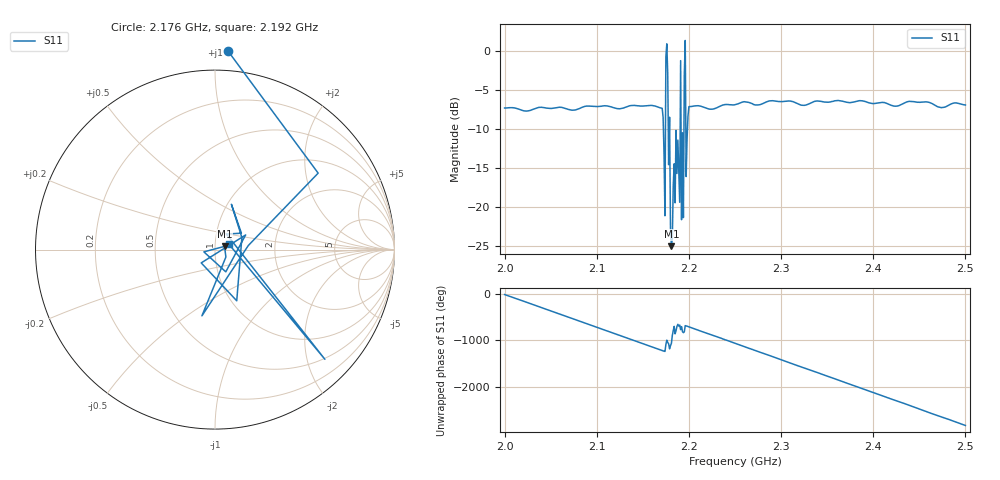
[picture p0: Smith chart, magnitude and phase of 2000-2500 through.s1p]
! NanoVNA-App by SYSJOINT et al v1.1.209 (+OD18)
! Date: 2025-09-17 10:32:18
! Start: 2GHz Stop: 2.5GHz Points: 501
! S-Parameter data: F S11
# Hz S RI R 50
!  Frequency  S11_Real  S11_Imag
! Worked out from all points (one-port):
!   501 points, 2 GHz to 2.5 GHz, reference 50 ohm
!   lowest |S11| = -25.0 dB at 2.181 GHz (marker M1), VSWR 1.12, Z = 55.6 + j2.01 ohm
!   |S11| at or under -10 dB: 2.17231 GHz to 2.174547 GHz (2.237 MHz wide, 0.103 % of centre); 2.179 GHz to 2.191 GHz (11.41 MHz wide, 0.522 % of centre); 2.19143 GHz to 2.194622 GHz (3.192 MHz wide, 0.146 % of centre)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
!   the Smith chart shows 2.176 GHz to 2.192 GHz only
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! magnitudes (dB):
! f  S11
! 2 GHz  -7.3
! 2.063 GHz  -7.3
! 2.125 GHz  -7.4
! 2.169 GHz  -7.3
! 2.171 GHz  -7.4
! 2.172 GHz  -8.5
! 2.175 GHz  -0.8
! 2.176 GHz  0.9
! 2.177 GHz  -2.9
! 2.18 GHz  -22.7
! 2.181 GHz  -25.0
! 2.182 GHz  -24.0
! 2.183 GHz  -17.2
! 2.184 GHz  -14.5
! 2.186 GHz  -10.2
! 2.188 GHz  -11.4
! 2.189 GHz  -15.2
! 2.192 GHz  -21.6
! 2.193 GHz  -10.5
! 2.196 GHz  1.3
! 2.197 GHz  -16.1
! 2.199 GHz  -8.3
! 2.202 GHz  -7.1
! 2.25 GHz  -6.9
! 2.313 GHz  -6.5
! 2.375 GHz  -6.6
! 2.438 GHz  -6.5
! 2.5 GHz  -6.9
